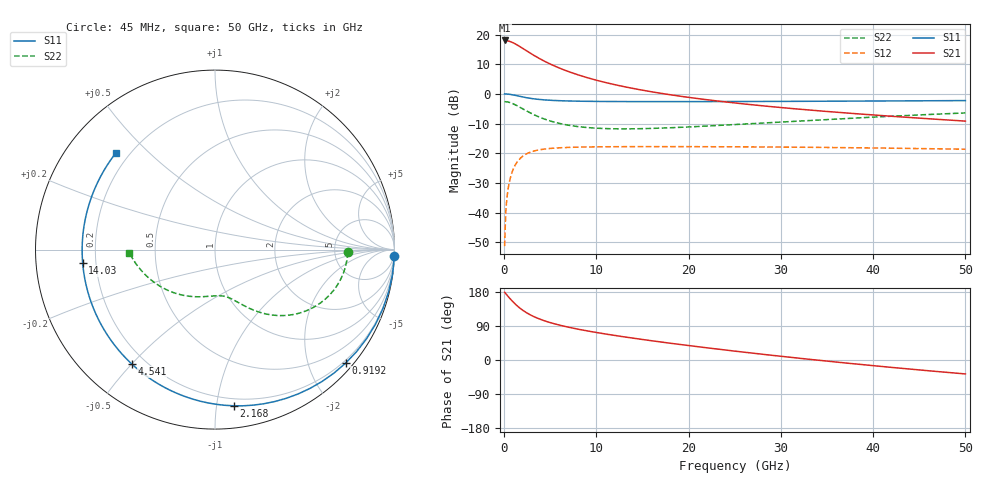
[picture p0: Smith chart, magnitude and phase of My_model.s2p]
! Created on 04/10/2021 19:13:33
! CINVESTAV
! S-Parameter data
! freq S11 S21 S12 S22
# GHz S RI R 50
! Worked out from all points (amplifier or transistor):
!   401 points, 45 MHz to 50 GHz, reference 50 ohm
!   highest |S21| = 18.0 dB at 45 MHz (marker M1)
!   |S21| within 3 dB of that: start of sweep to 2.175 GHz
!   unconditionally stable (mu >= 1): 10.95 GHz to end of sweep
!   at 8.288 GHz: K = 0.76, MSG = 12.0 dB, |S12| = -17.9 dB
!   at 25.02 GHz: K = 2.13, MAG = 1.3 dB, |S12| = -17.8 dB
!   at 50 GHz: K = 3.64, MAG = -3.8 dB, |S12| = -18.7 dB
!   S11 on the Smith chart (normalised r, x): 45 MHz: 0, -55; 919.2 MHz: 0.15, -2.67; 2.168 GHz: 0.15, -1.11; 4.541 GHz: 0.15, -0.50; 14.03 GHz: 0.15, -0.05; 50 GHz: 0.15, +0.40
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0.045  0.9992 -0.0366  -7.945 0.1828  5.85e-05 0.00272  0.7395 -0.0146
0.1698875  0.9891 -0.1373  -7.895 0.6864  0.000829 0.0102  0.7357 -0.0547
0.4196625  0.9355 -0.3289  -7.63 1.645  0.00491 0.0244  0.7154 -0.1313
0.6694375  0.8444 -0.4967  -7.18 2.485  0.0118 0.0368  0.6811 -0.1989
0.9192125  0.7275 -0.6327  -6.602 3.168  0.0207 0.0467  0.6369 -0.2545
1.168988  0.5969 -0.7345  -5.957 3.683  0.0307 0.0541  0.5876 -0.2973
1.54365  0.3974 -0.8284  -4.972 4.165  0.0458 0.0607  0.5121 -0.3394
1.793425  0.2718 -0.8589  -4.351 4.327  0.0554 0.0626  0.4645 -0.3554
2.168087  0.1031 -0.8703  -3.518 4.401  0.0682 0.0629  0.4003 -0.3664
2.667638  -0.0811 -0.8448  -2.608 4.299  0.0821 0.0602  0.3299 -0.3658
3.292075  -0.2529 -0.7822  -1.759 4.02  0.0951 0.0545  0.2635 -0.3535
3.916513  -0.3754 -0.7094  -1.153 3.69  0.1044 0.048  0.2152 -0.3372
4.54095  -0.4634 -0.6376  -0.7177 3.365  0.111 0.0415  0.1796 -0.3213
6.164487  -0.5985 -0.4775  -0.0483 2.652  0.1209 0.0269  0.1204 -0.2893
8.412463  -0.6814 -0.3166  0.366 1.965  0.1266 0.0112  0.0735 -0.2664
10.91021  -0.7199 -0.1899  0.5631 1.459  0.1285 -0.0023  0.0365 -0.2578
14.0324  -0.7375 -0.0735  0.662 1.036  0.1283 -0.0159  -0.005 -0.2579
16.77993  -0.7403 0.00726  0.6896 0.7711  0.1267 -0.0261  -0.0421 -0.2609
25.0225  -0.7185 0.1897  0.645 0.2785  0.1175 -0.0515  -0.1628 -0.2573
33.38996  -0.6742 0.329  0.5293 0.00964  0.1033 -0.0717  -0.2884 -0.2144
41.75742  -0.6174 0.4429  0.399 -0.1373  0.0855 -0.0867  -0.398 -0.1303
50  -0.5534 0.5372  0.2785 -0.2082  0.066 -0.0962  -0.4774 -0.0174
